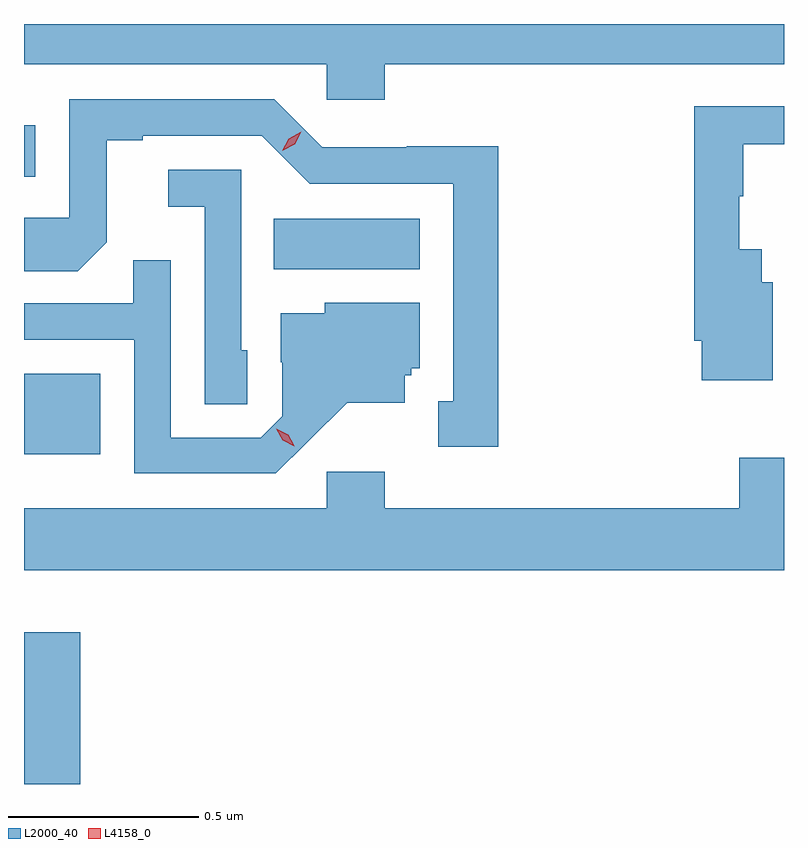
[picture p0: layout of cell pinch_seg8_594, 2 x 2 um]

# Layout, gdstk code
import gdstk
lib = gdstk.Library(unit=1e-6, precision=1e-09)
def R(c, l, rs):  # rectangles x0, y0, x1, y1
    for r in rs: c.add(gdstk.rectangle(r[:2], r[2:], *l))
def P(c, l, *ps):  # polygons
    for p in ps: c.add(gdstk.Polygon(p, *l))
L2000_40 = (2000, 40)
L4158_0 = (4158, 0)

pinch_seg8_594 = lib.new_cell('pinch_seg8_594')
R(pinch_seg8_594, L2000_40, [(148.255,1083.97,148.403,1084.369), (148.255,1084.838,148.456,1085.05), (148.912,1085.324,149.296,1085.458), (148.255,1085.568,148.285,1085.704)])
P(pinch_seg8_594, L2000_40, [(149.204,1085.864),(150.255,1085.864),(150.255,1085.97),(148.255,1085.97),(148.255,1085.864),(149.052,1085.864),(149.052,1085.771),(149.204,1085.771)],
  [(149.503,1085.648),(149.262,1085.648),(149.262,1085.646),(149.04,1085.646),(148.914,1085.772),(148.374,1085.772),(148.374,1085.46),(148.255,1085.46),(148.255,1085.32),(148.397,1085.32),(148.473,1085.396),(148.473,1085.664),(148.567,1085.664),(148.567,1085.676),(148.881,1085.676),(149.007,1085.55),(149.384,1085.55),(149.384,1084.977),(149.345,1084.977),(149.345,1084.857),(149.503,1084.857)],
  [(150.226,1085.29),(150.196,1085.29),(150.196,1085.377),(150.137,1085.377),(150.137,1085.517),(150.148,1085.517),(150.148,1085.653),(150.255,1085.653),(150.255,1085.754),(150.019,1085.754),(150.019,1085.137),(150.038,1085.137),(150.038,1085.033),(150.226,1085.033)],
  [(148.842,1085.112),(148.827,1085.112),(148.827,1085.586),(148.635,1085.586),(148.635,1085.489),(148.731,1085.489),(148.731,1084.969),(148.842,1084.969)],
  [(149.002,1084.871),(149.105,1084.973),(149.257,1084.973),(149.257,1085.046),(149.274,1085.046),(149.274,1085.064),(149.296,1085.064),(149.296,1085.236),(149.046,1085.236),(149.046,1085.209),(148.931,1085.209),(148.931,1085.08),(148.935,1085.08),(148.935,1084.938),(148.878,1084.881),(148.641,1084.881),(148.641,1085.348),(148.543,1085.348),(148.543,1085.235),(148.255,1085.235),(148.255,1085.139),(148.545,1085.139),(148.545,1084.788),(148.918,1084.788)],
  [(150.255,1084.828),(150.137,1084.828),(150.137,1084.696),(149.204,1084.696),(149.204,1084.792),(149.052,1084.792),(149.052,1084.696),(148.255,1084.696),(148.255,1084.532),(150.255,1084.532)])
P(pinch_seg8_594, L4158_0, [(148.935,1085.636),(148.935,1085.636),(148.952,1085.668),(148.984,1085.687),(148.984,1085.687),(148.984,1085.687),(148.967,1085.654),(148.935,1085.636)],
  [(148.966,1084.859),(148.936,1084.875),(148.919,1084.905),(148.919,1084.905),(148.919,1084.905),(148.95,1084.889),(148.966,1084.86),(148.966,1084.859)])

lib.write_gds('pinch_seg8_594.gds')
